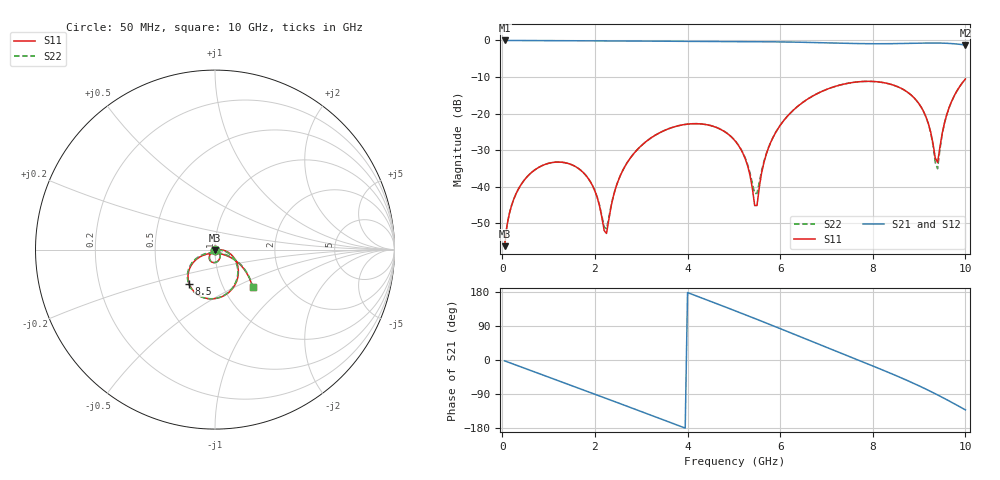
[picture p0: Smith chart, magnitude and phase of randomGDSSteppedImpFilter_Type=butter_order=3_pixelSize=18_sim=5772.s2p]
! freq	dB(S11)	phase(S11)	dB(S12)	phase(S12)
!  dB(S21)	phase(S21)	dB(S22)	phase(S22)
!S-par simulation data
#  GHz  S  DB  R 50
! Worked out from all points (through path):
!   200 points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, 50 MHz to 10 GHz, reference 50 ohm
!   highest |S21| = 0.00 dB at 50 MHz (marker M1); lowest = -1.3 dB at 10 GHz (marker M2)
!   group delay of S21, straight-line fit = 134 ps
!   lowest |S11| = -56.3 dB at 50 MHz (marker M3), VSWR 1.00, Z = 50 - j0.153 ohm
!   |S11| at or under -10 dB: start of sweep to end of sweep
!   |S22| runs from -56.3 to -10.6 dB; largest |S21 - S12| = 0
!   S11 on the Smith chart (normalised r, x): 50 MHz: 1.00, -0.00; 8.5 GHz: 0.70, -0.28; 10 GHz: 1.36, -0.63
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0.05  -56.26 -86.4  -0.00 -2.3  -0.00 -2.3  -56.26 -86.4
0.25  -43.33 -98.9  -0.02 -11.3  -0.02 -11.3  -43.33 -99.0
0.6  -36.46 -117.8  -0.04 -27.1  -0.04 -27.1  -36.46 -117.9
1.75  -36.15 -175.4  -0.09 -79.0  -0.09 -79.0  -36.13 -176.3
2  -41.18 166.8  -0.10 -90.4  -0.10 -90.4  -41.11 164.9
2.25  -52.79 60.3  -0.11 -101.7  -0.11 -101.7  -51.54 62.8
2.6  -35.59 -19.6  -0.14 -117.7  -0.14 -117.7  -35.55 -17.8
3.4  -25.23 -61.3  -0.20 -154.4  -0.20 -154.4  -25.22 -60.3
4.2  -22.77 -98.2  -0.28 168.7  -0.28 168.7  -22.76 -97.0
5.05  -27.83 -134.4  -0.32 128.8  -0.32 128.8  -27.75 -131.1
5.3  -34.40 -138.5  -0.34 116.9  -0.34 116.9  -34.02 -131.1
5.5  -45.15 -41.5  -0.35 107.2  -0.35 107.2  -41.82 -52.0
5.65  -33.37 -1.7  -0.36 100.0  -0.36 100.0  -33.05 -9.5
5.85  -26.44 -4.4  -0.38 90.2  -0.38 90.2  -26.37 -8.4
6.7  -15.22 -41.5  -0.56 48.3  -0.56 48.3  -15.22 -42.9
7.5  -11.63 -79.5  -0.81 8.9  -0.81 8.9  -11.63 -80.6
8.35  -11.86 -119.9  -0.89 -33.3  -0.89 -33.3  -11.86 -121.2
8.5  -12.46 -127.2  -0.87 -41.1  -0.87 -41.1  -12.47 -128.5
9.1  -19.51 -153.3  -0.72 -74.0  -0.72 -74.0  -19.56 -156.0
9.4  -33.35 -74.2  -0.71 -92.1  -0.71 -92.1  -35.09 -71.0
9.6  -20.17 -26.7  -0.78 -104.9  -0.78 -104.9  -20.25 -24.7
10  -10.54 -45.3  -1.26 -131.6  -1.26 -131.6  -10.55 -45.0
